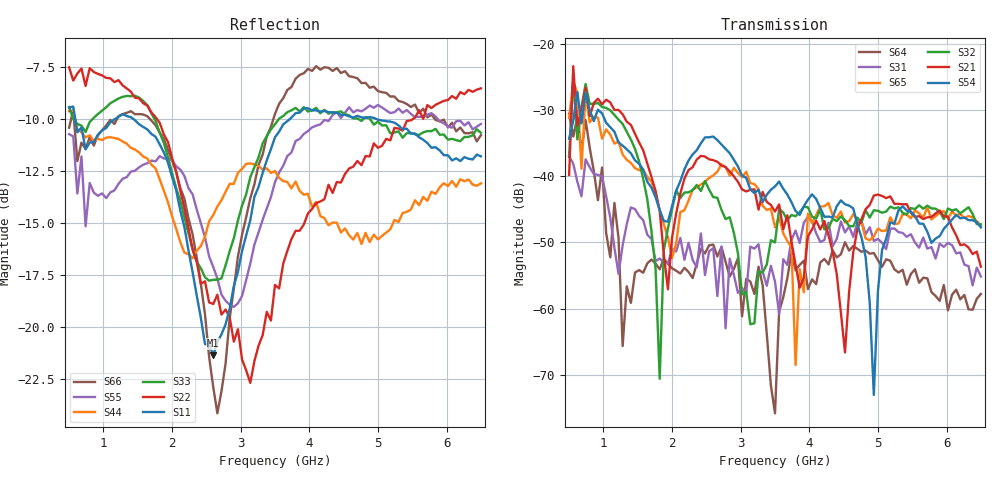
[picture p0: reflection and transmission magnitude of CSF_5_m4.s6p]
!Keysight Technologies,M9804A,MY58100912,A.14.10.03
!Date: Thursday, April 27, 2023 10:28:33
!Correction: S11(C  6-Port  )
!S12(C  6-Port  )
!S13(C  6-Port  )
!S14(C  6-Port  )
!S15(C  6-Port  )
!S16(C  6-Port  )
!S21(C  6-Port  )
!S22(C  6-Port  )
!S23(C  6-Port  )
!S24(C  6-Port  )
!S25(C  6-Port  )
!S26(C  6-Port  )
!S31(C  6-Port  )
!S32(C  6-Port  )
!S33(C  6-Port  )
!S34(C  6-Port  )
!S35(C  6-Port  )
!S36(C  6-Port  )
!S41(C  6-Port  )
!S42(C  6-Port  )
!S43(C  6-Port  )
!S44(C  6-Port  )
!S45(C  6-Port  )
!S46(C  6-Port  )
!S51(C  6-Port  )
!S52(C  6-Port  )
!S53(C  6-Port  )
!S54(C  6-Port  )
!S55(C  6-Port  )
!S56(C  6-Port  )
!S61(C  6-Port  )
!S62(C  6-Port  )
!S63(C  6-Port  )
!S64(C  6-Port  )
!S65(C  6-Port  )
!S66(C  6-Port  )
!S6P File: Measurement: :
# Hz S  RI  R 50
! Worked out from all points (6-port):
!   101 points, 500 MHz to 6.5 GHz, reference 50 ohm
!   strongest paths, dB at 500 MHz, 2 GHz, 3.5 GHz, 5 GHz, 6.5 GHz:
!     S54: -34.3, -44.5, -41.5, -57.3, -47.7
!     S21: -39.8, -49.3, -45.3, -42.8, -53.7
!     S32: -37.1, -45.0, -50.0, -45.2, -47.3
!     S65: -31.2, -52.4, -47.7, -47.9, -47.4
!     S31: -37.0, -51.0, -55.9, -49.5, -55.2
!     S64: -30.6, -53.9, -75.8, -52.7, -57.8
!   lowest |S11| = -21.4 dB at 2.6 GHz (marker M1), VSWR 1.19, Z = 42.4 + j2.21 ohm
!   |S11| at or under -10 dB: 589.2 MHz to 1.165 GHz (576.1 MHz wide, 65.7 % of centre); 1.438 GHz to 3.715 GHz (2.277 GHz wide, 88.4 % of centre); 4.98 GHz to end of sweep
